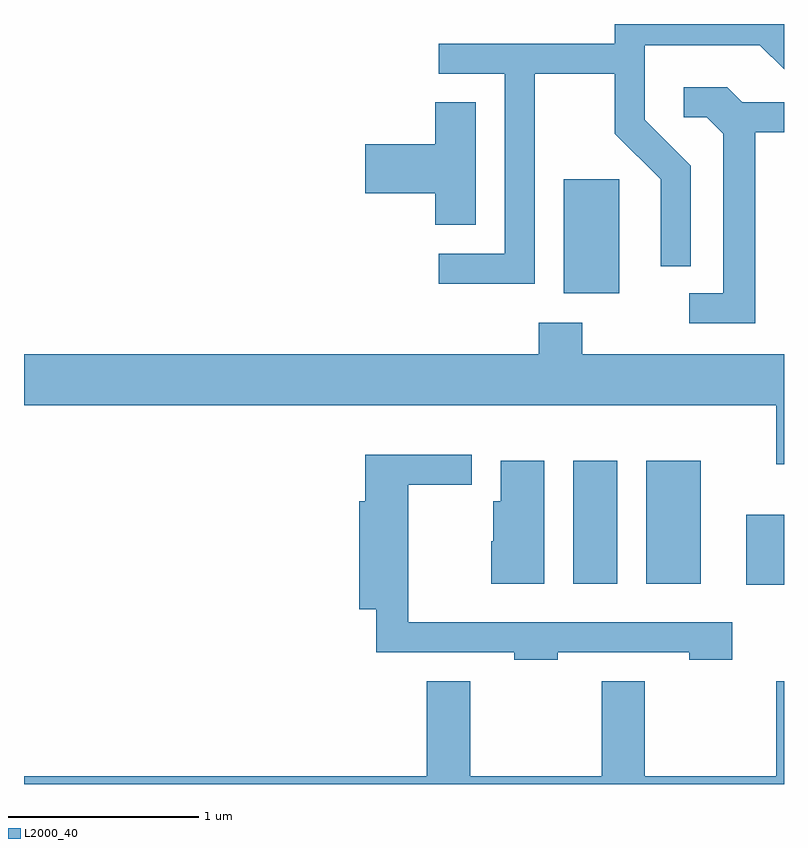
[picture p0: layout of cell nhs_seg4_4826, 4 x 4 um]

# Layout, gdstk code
import gdstk
lib = gdstk.Library(unit=1e-6, precision=1e-09)
def R(c, l, rs):  # rectangles x0, y0, x1, y1
    for r in rs: c.add(gdstk.rectangle(r[:2], r[2:], *l))
def P(c, l, *ps):  # polygons
    for p in ps: c.add(gdstk.Polygon(p, *l))
L2000_40 = (2000, 40)

nhs_seg4_4826 = lib.new_cell('nhs_seg4_4826')
R(nhs_seg4_4826, L2000_40, [(329.411,1387.031,329.611,1387.399), (328.501,1387.036,328.734,1387.684), (328.886,1387.036,329.174,1387.684), (328.451,1388.566,328.744,1389.164)])
P(nhs_seg4_4826, L2000_40, [(328.299,1389.721),(328.721,1389.721),(328.721,1389.404),(328.961,1389.164),(328.961,1388.708),(329.119,1388.708),(329.119,1389.237),(328.879,1389.477),(328.879,1389.871),(329.484,1389.871),(329.611,1389.744),(329.611,1389.982),(328.721,1389.982),(328.721,1389.879),(327.793,1389.879),(327.793,1389.721),(328.141,1389.721),(328.141,1388.774),(327.793,1388.774),(327.793,1388.616),(328.299,1388.616)],
  [(329.459,1389.411),(329.611,1389.411),(329.611,1389.569),(329.392,1389.569),(329.312,1389.649),(329.083,1389.649),(329.083,1389.491),(329.204,1389.491),(329.291,1389.404),(329.291,1388.564),(329.113,1388.564),(329.113,1388.406),(329.459,1388.406)],
  [(327.989,1389.569),(327.776,1389.569),(327.776,1389.349),(327.406,1389.349),(327.406,1389.091),(327.776,1389.091),(327.776,1388.926),(327.989,1388.926)],
  [(329.611,1388.244),(328.549,1388.244),(328.549,1388.409),(328.321,1388.409),(328.321,1388.244),(325.611,1388.244),(325.611,1387.976),(329.571,1387.976),(329.571,1387.666),(329.611,1387.666)],
  [(328.419,1386.676),(329.111,1386.676),(329.111,1386.636),(329.339,1386.636),(329.339,1386.834),(327.634,1386.834),(327.634,1387.556),(327.968,1387.556),(327.968,1387.714),(327.406,1387.714),(327.406,1387.469),(327.376,1387.469),(327.376,1386.901),(327.466,1386.901),(327.466,1386.676),(328.191,1386.676),(328.191,1386.636),(328.419,1386.636)],
  [(328.349,1387.684),(328.121,1387.684),(328.121,1387.469),(328.081,1387.469),(328.081,1387.26),(328.071,1387.26),(328.071,1387.036),(328.349,1387.036)],
  [(329.611,1386.524),(329.571,1386.524),(329.571,1386.024),(328.879,1386.024),(328.879,1386.524),(328.651,1386.524),(328.651,1386.024),(327.959,1386.024),(327.959,1386.524),(327.731,1386.524),(327.731,1386.024),(325.611,1386.024),(325.611,1385.982),(329.611,1385.982)])

lib.write_gds('nhs_seg4_4826.gds')
